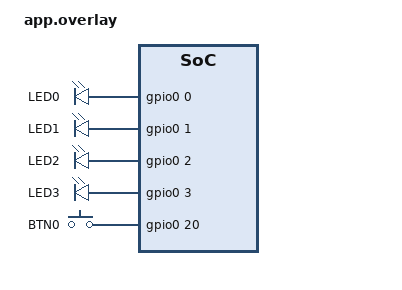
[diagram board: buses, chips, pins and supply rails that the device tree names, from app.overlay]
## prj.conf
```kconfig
CONFIG_GPIO=y
CONFIG_I2C=y

CONFIG_DEBUG=y

CONFIG_SERIAL=y
CONFIG_UART_LINE_CTRL=y
CONFIG_CONSOLE=y
CONFIG_UART_CONSOLE=y
CONFIG_CDC_ACM_SERIAL_INITIALIZE_AT_BOOT=y
```

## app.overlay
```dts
/ {
	aliases {
		led0 = &ext_led0;
		led1 = &ext_led1;
		led2 = &ext_led2;
		led3 = &ext_led3;
      btn0 = &ext_btn0;
	};

	leds {
		compatible = "gpio-leds";

		ext_led0: led_0 {
			gpios = <&gpio0 0 GPIO_ACTIVE_HIGH>;
			label = "LED0";
		};

		ext_led1: led_1 {
			gpios = <&gpio0 1 GPIO_ACTIVE_HIGH>;
			label = "LED1";
		};

		ext_led2: led_2 {
			gpios = <&gpio0 2 GPIO_ACTIVE_HIGH>;
			label = "LED2";
		};

		ext_led3: led_3 {
			gpios = <&gpio0 3 GPIO_ACTIVE_HIGH>;
			label = "LED3";
		};
	};
   
   buttons { 
      compatible = "gpio-keys";
   
      ext_btn0: btn_0 {
         gpios = <&gpio0 20 GPIO_ACTIVE_HIGH>;
         label = "BTN0";
      };
   };
};
```

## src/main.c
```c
#include <zephyr/kernel.h>
#include <zephyr/device.h>
#include <zephyr/devicetree.h>
#include <zephyr/drivers/gpio.h>
#include <zephyr/drivers/i2c.h>
#include <stdio.h>

#include <bme680_reg.h>

#define BME680_ADDR     0x77

#define I2C_LABEL       i2c0

int main(void)
{
    const struct device *i2c_bus = DEVICE_DT_GET(DT_NODELABEL(I2C_LABEL));

    if (i2c_bus == NULL)
    {
        printf("No device found; did initialization fail?\n");
        fflush(stdout);
        return -1;
    } 
    
    /* Try and read chip id */
    uint8_t id;
    if (i2c_reg_read_byte(i2c_bus, BME680_ADDR, BME680_ID, &id) < 0){
        printf("Could not communicate with sensor.\n"); 
        fflush(stdout);
        return -1; 
    }
    
    if (id != 0x61)
    {
        printf("Sensor ID could not be read from I2C device.\n");
        fflush(stdout);
        return -1;
    }

    printf("Everything is working.\n");
    fflush(stdout);
    
    /* Read temperature calibration parameters */
    uint8_t par_t1_lsb;
    uint8_t par_t1_msb;
    uint8_t par_t2_lsb;
    uint8_t par_t2_msb;
    uint8_t par_t3_raw;

    if (i2c_reg_read_byte(i2c_bus, BME680_ADDR, 0xE9, &par_t1_lsb) < 0 ||
        i2c_reg_read_byte(i2c_bus, BME680_ADDR, 0xEA, &par_t1_msb) < 0 ||
        i2c_reg_read_byte(i2c_bus, BME680_ADDR, 0x8A, &par_t2_lsb) < 0 ||
        i2c_reg_read_byte(i2c_bus, BME680_ADDR, 0x8B, &par_t2_msb) < 0 ||
        i2c_reg_read_byte(i2c_bus, BME680_ADDR, 0x8C, &par_t3_raw) < 0)
    {
        printf("Failed to read calibration parameters.\n");
        fflush(stdout);
        return -1;
    }
    
    uint16_t par_t1 = ((uint16_t)par_t1_msb << 8) | par_t1_lsb;
    int16_t par_t2 = (int16_t)(((uint16_t)par_t2_msb << 8) | par_t2_lsb);
    int8_t par_t3 = (int8_t)par_t3_raw;
    
    while (1)
    {
        uint8_t ctrl_meas;
        uint8_t temp_msb, temp_lsb, temp_xlsb;
        uint32_t temp_adc;
        
        int64_t var1;
        int64_t var2;
        int64_t var3;
        int32_t t_fine;
        int32_t temp_comp;

        /* temp oversampling x1, pressure skip, forced mode */
        ctrl_meas = 0x20 | 0x01;

        if (i2c_reg_write_byte(i2c_bus, BME680_ADDR, BME680_CTRL_MEAS, ctrl_meas) < 0)
        {
            printf("Failed to start measurement.\n");
            fflush(stdout);
            k_sleep(K_SECONDS(3));
            continue;
        }

        k_msleep(10);

        if (i2c_reg_read_byte(i2c_bus, BME680_ADDR, BME680_TEMP_MSB, &temp_msb) < 0)
        {
            printf("Failed to read TEMP_MSB.\n");
            fflush(stdout);
            k_sleep(K_SECONDS(3));
            continue;
        }

        if (i2c_reg_read_byte(i2c_bus, BME680_ADDR, BME680_TEMP_LSB, &temp_lsb) < 0)
        {
            printf("Failed to read TEMP_LSB.\n");
            fflush(stdout);
            k_sleep(K_SECONDS(3));
            continue;
        }

        if (i2c_reg_read_byte(i2c_bus, BME680_ADDR, BME680_TEMP_XLSB, &temp_xlsb) < 0)
        {
            printf("Failed to read TEMP_XLSB.\n");
            fflush(stdout);
            k_sleep(K_SECONDS(3));
            continue;
        }

        temp_adc = ((uint32_t)temp_msb << 12) |
                   ((uint32_t)temp_lsb << 4)  |
                   ((uint32_t)temp_xlsb >> 4);

        printf("Raw temperature ADC = %u\n", temp_adc);
        fflush(stdout);
        
        /* Bosch compensation formula */
        var1 = (((int32_t)temp_adc >> 3) - ((int32_t)par_t1 << 1));
        var2 = (var1 * (int32_t)par_t2) >> 11;
        var3 = ((((var1 >> 1) * (var1 >> 1)) >> 12) *
               ((int32_t)par_t3 << 4)) >> 14;

        t_fine = (int32_t)(var2 + var3);
        temp_comp = ((t_fine * 5) + 128) >> 8;   /* 0.01 °C */

        printf("Raw temperature ADC = %u, Temperature = %d.%02d C\n",
               temp_adc,
               temp_comp / 100,
               temp_comp < 0 ? -(temp_comp % 100) : (temp_comp % 100));
        fflush(stdout);

        k_sleep(K_SECONDS(3));

    }

}
```
